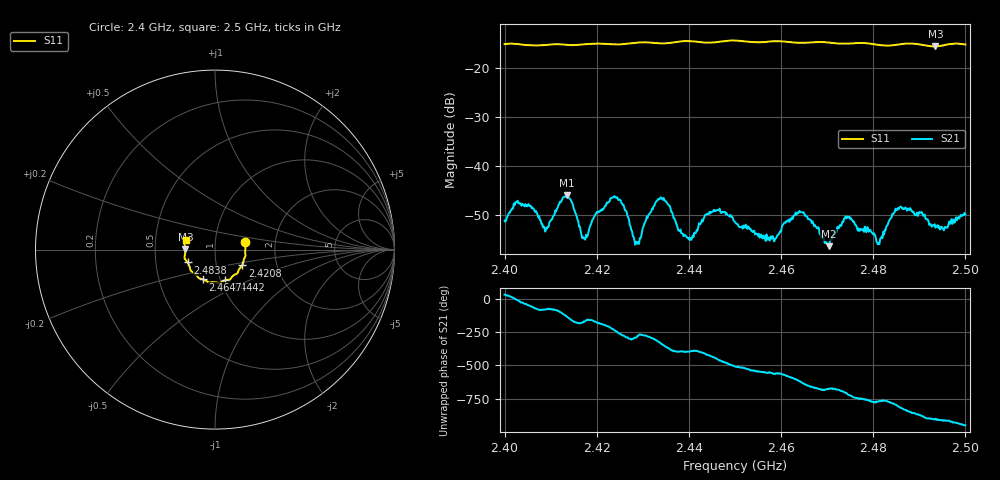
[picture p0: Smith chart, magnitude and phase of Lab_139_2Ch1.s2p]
# Hz S RI R 50
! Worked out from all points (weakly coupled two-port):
!   601 points, 2.4 GHz to 2.5 GHz, reference 50 ohm
!   highest |S21| = -45.92 dB at 2.4135 GHz (marker M1); lowest = -56.3 dB at 2.4703 GHz (marker M2)
!   lowest |S11| = -15.7 dB at 2.4935 GHz (marker M3), VSWR 1.39, Z = 35.8 + j0.208 ohm
!   |S11| at or under -10 dB: start of sweep to end of sweep
!   S12 and S22 are empty: the file has one direction only
!   S11 on the Smith chart (normalised r, x): 2.4 GHz: 1.40, +0.12; 2.4208 GHz: 1.33, -0.24; 2.4442 GHz: 1.05, -0.37; 2.4647 GHz: 0.83, -0.28; 2.4838 GHz: 0.73, -0.11; 2.5 GHz: 0.71, +0.08
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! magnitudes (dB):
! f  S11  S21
! 2.4 GHz  -15.2  -51.1
! 2.4028 GHz  -15.2  -47.1
! 2.409 GHz  -15.4  -52.6
! 2.4135 GHz  -15.3  -45.9
! 2.4167 GHz  -15.3  -53.9
! 2.4208 GHz  -15.1  -49.0
! 2.4247 GHz  -15.3  -46.9
! 2.4287 GHz  -14.9  -55.8
! 2.4333 GHz  -15.0  -46.7
! 2.44 GHz  -14.6  -54.6
! 2.4442 GHz  -14.9  -49.8
! 2.45 GHz  -14.5  -51.4
! 2.4585 GHz  -14.6  -55.4
! 2.4647 GHz  -14.9  -49.4
! 2.4667 GHz  -14.8  -51.6
! 2.4703 GHz  -14.9  -56.3
! 2.4743 GHz  -15.1  -50.3
! 2.4812 GHz  -15.4  -55.6
! 2.4833 GHz  -15.5  -51.4
! 2.4838 GHz  -15.5  -50.6
! 2.4935 GHz  -15.7  -52.5
! 2.5 GHz  -15.3  -49.8
